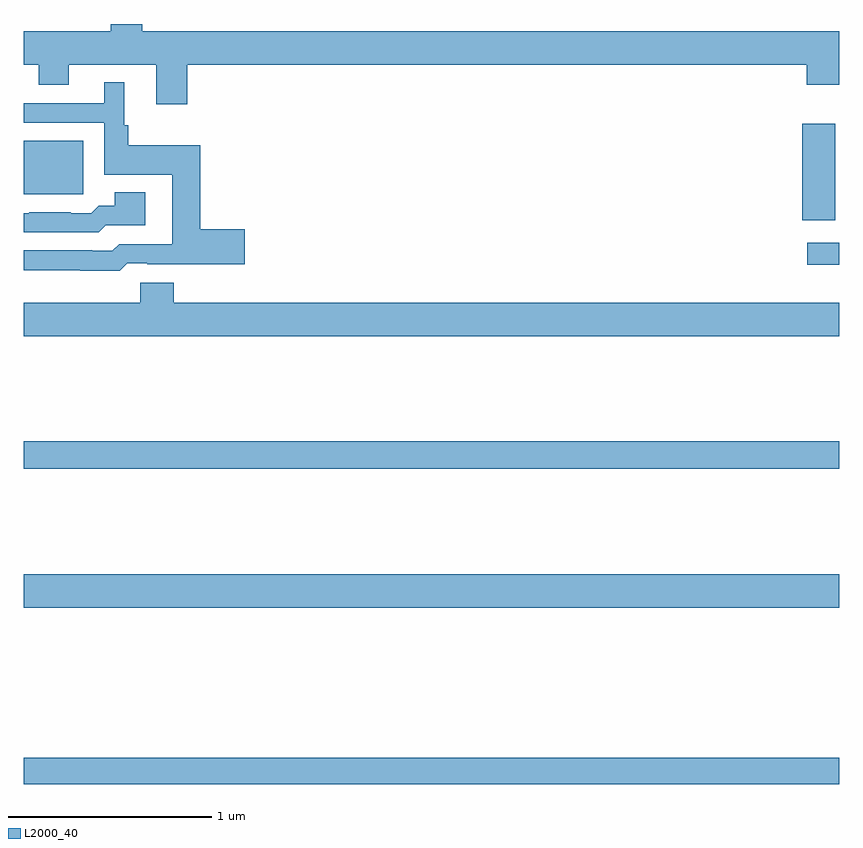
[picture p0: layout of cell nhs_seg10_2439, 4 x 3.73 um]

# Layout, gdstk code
import gdstk
lib = gdstk.Library(unit=1e-6, precision=1e-09)
def R(c, l, rs):  # rectangles x0, y0, x1, y1
    for r in rs: c.add(gdstk.rectangle(r[:2], r[2:], *l))
def P(c, l, *ps):  # polygons
    for p in ps: c.add(gdstk.Polygon(p, *l))
L2000_40 = (2000, 40)

nhs_seg10_2439 = lib.new_cell('nhs_seg10_2439')
R(nhs_seg10_2439, L2000_40, [(241,1312.77,245,1312.898), (241,1313.636,245,1313.8), (241,1314.316,245,1314.452), (244.845,1315.319,245,1315.426), (244.82,1315.536,244.981,1316.011)])
P(nhs_seg10_2439, L2000_40, [(241.427,1316.5),(241.427,1316.464),(241,1316.464),(241,1316.3),(241.072,1316.3),(241.072,1316.201),(241.219,1316.201),(241.219,1316.3),(241.649,1316.3),(241.649,1316.106),(241.802,1316.106),(241.802,1316.3),(244.841,1316.3),(244.841,1316.201),(245,1316.201),(245,1316.464),(241.58,1316.464),(241.58,1316.5)],
  [(241.507,1315.326),(241.606,1315.326),(241.606,1315.322),(242.083,1315.322),(242.083,1315.493),(241.865,1315.493),(241.865,1315.906),(241.511,1315.906),(241.511,1316.002),(241.492,1316.002),(241.492,1316.215),(241.394,1316.215),(241.394,1316.112),(241,1316.112),(241,1316.016),(241.395,1316.016),(241.395,1315.76),(241.727,1315.76),(241.727,1315.419),(241.467,1315.419),(241.434,1315.386),(241.334,1315.386),(241.334,1315.389),(241,1315.389),(241,1315.292),(241.276,1315.292),(241.276,1315.29),(241.471,1315.29)],
  [(241.291,1315.927),(241.069,1315.927),(241.069,1315.926),(241,1315.926),(241,1315.664),(241.291,1315.664)],
  [(241.401,1315.512),(241.594,1315.512),(241.594,1315.675),(241.445,1315.675),(241.445,1315.609),(241.366,1315.609),(241.329,1315.572),(241.229,1315.572),(241.229,1315.575),(241.027,1315.575),(241.027,1315.572),(241,1315.572),(241,1315.479),(241.368,1315.479)],
  [(245,1315.132),(241.736,1315.132),(241.736,1315.231),(241.571,1315.231),(241.571,1315.132),(241,1315.132),(241,1314.968),(245,1314.968)])

lib.write_gds('nhs_seg10_2439.gds')
